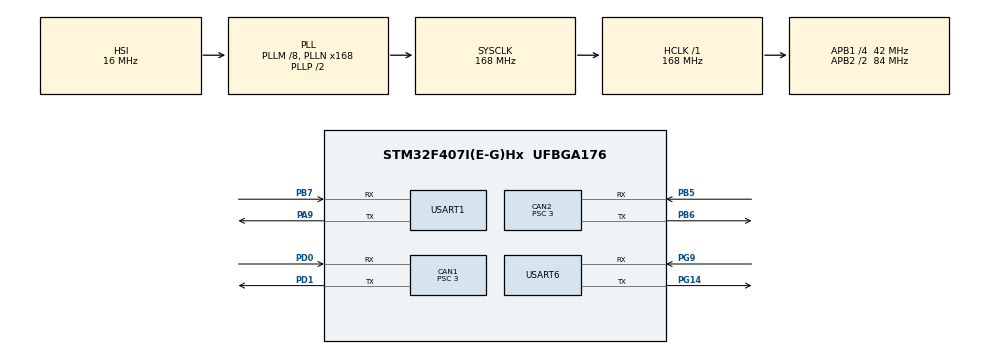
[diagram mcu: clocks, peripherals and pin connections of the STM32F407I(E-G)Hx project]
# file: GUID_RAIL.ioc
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CAN1.BS1=CAN_BS1_10TQ
CAN1.BS2=CAN_BS2_3TQ
CAN1.CalculateBaudRate=1000000
CAN1.CalculateTimeBit=1000
CAN1.CalculateTimeQuantum=71.42857142857143
CAN1.Prescaler=3
CAN2.BS1=CAN_BS1_10TQ
CAN2.BS2=CAN_BS2_3TQ
CAN2.CalculateBaudRate=1000000
CAN2.CalculateTimeBit=1000
CAN2.CalculateTimeQuantum=71.42857142857143
CAN2.Prescaler=3
Mcu.Family=STM32F4
Mcu.Name=STM32F407I(E-G)Hx
Mcu.Package=UFBGA176
NVIC.CAN1_RX0_IRQn=true\:0\:0\:false\:false\:true\:true\:true\:true
NVIC.CAN2_RX0_IRQn=true\:0\:0\:false\:false\:true\:true\:true\:true
NVIC.PriorityGroup=NVIC_PRIORITYGROUP_4
NVIC.USART1_IRQn=true\:0\:0\:false\:false\:true\:true\:true\:true
NVIC.USART6_IRQn=true\:0\:0\:false\:false\:true\:true\:true\:true
PA13.Mode=Serial_Wire
PA13.Signal=SYS_JTMS-SWDIO
PA14.Mode=Serial_Wire
PA14.Signal=SYS_JTCK-SWCLK
PA9.Mode=Asynchronous
PA9.Signal=USART1_TX
PB5.Mode=CAN_Activate
PB5.Signal=CAN2_RX
PB6.Mode=CAN_Activate
PB6.Signal=CAN2_TX
PB7.Mode=Asynchronous
PB7.Signal=USART1_RX
PD0.Mode=CAN_Activate
PD0.Signal=CAN1_RX
PD1.Mode=CAN_Activate
PD1.Signal=CAN1_TX
PG14.Mode=Asynchronous
PG14.Signal=USART6_TX
PG9.Mode=Asynchronous
PG9.Signal=USART6_RX
PH0-OSC_IN.Mode=HSE-External-Oscillator
PH0-OSC_IN.Signal=RCC_OSC_IN
PH1-OSC_OUT.Mode=HSE-External-Oscillator
PH1-OSC_OUT.Signal=RCC_OSC_OUT
ProjectManager.HeapSize=0x200
ProjectManager.StackSize=0x400
ProjectManager.TargetToolchain=MDK-ARM V5.32
RCC.48MHZClocksFreq_Value=84000000
RCC.AHBFreq_Value=168000000
RCC.APB1CLKDivider=RCC_HCLK_DIV4
RCC.APB1Freq_Value=42000000
RCC.APB1TimFreq_Value=84000000
RCC.APB2CLKDivider=RCC_HCLK_DIV2
RCC.APB2Freq_Value=84000000
RCC.APB2TimFreq_Value=168000000
RCC.CortexFreq_Value=168000000
RCC.HCLKFreq_Value=168000000
RCC.HSE_VALUE=25000000
RCC.HSI_VALUE=16000000
RCC.LSE_VALUE=32768
RCC.PLLM=8
RCC.PLLN=168
RCC.SYSCLKFreq_VALUE=168000000
RCC.SYSCLKSource=RCC_SYSCLKSOURCE_PLLCLK
RCC.VCOOutputFreq_Value=336000000
TIM6.Period=999
TIM6.Prescaler=83
USART1.VirtualMode=VM_ASYNC
USART6.VirtualMode=VM_ASYNC
VP_TIM6_VS_ClockSourceINT.Mode=Enable_Timer
board=custom

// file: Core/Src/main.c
/* USER CODE BEGIN Header */
/**
  ******************************************************************************
  * @file           : main.c
  * @brief          : Main program body
  ******************************************************************************
  * @attention
  *
  * Copyright (c) 2026 STMicroelectronics.
  * All rights reserved.
  *
  * This software is licensed under terms that can be found in the LICENSE file
  * in the root directory of this software component.
  * If no LICENSE file comes with this software, it is provided AS-IS.
  *
  ******************************************************************************
  */
/* USER CODE END Header */
#include "main.h"
#include "can.h"
#include "tim.h"
#include "usart.h"
#include "gpio.h"

/* USER CODE BEGIN Includes */
#include "can_comm.h"
#include "CAN_receive.h"
#include "Motor.h"
#include "trajectory.h"
#include "serialplot.h"
#include "rail_control.h"
/* USER CODE END Includes */

/* USER CODE BEGIN PV */
static motor_ctrl_t horizontal_motor;
static uint8_t control_started;

/* TIM6 每 1ms 置 1，主循环看到它才执行一轮控制（volatile：中断里写） */
static volatile uint8_t control_tick_flag;
static uint16_t plot_divider;   /* SerialPlot 输出分频：每 10ms 发一次 */

/* 板A 帧接收：USART1 RX(PB7) 逐字节中断。这个口已经配好，不需要改 CubeMX */
static uint8_t rail_rx_byte;
/* USER CODE END PV */

void SystemClock_Config(void);

int main(void)
{

  /* MCU Configuration--------------------------------------------------------*/

  /* Reset of all peripherals, Initializes the Flash interface and the Systick. */
  HAL_Init();

  /* Configure the system clock */
  SystemClock_Config();

  /* Initialize all configured peripherals */
  MX_GPIO_Init();
  MX_CAN1_Init();
  MX_TIM6_Init();
  MX_USART1_UART_Init();
  MX_CAN2_Init();
  MX_USART6_UART_Init();
  /* USER CODE BEGIN 2 */
  /* 第一件事就把串口接收挂上。
   * MX_USART1_UART_Init() 之后串口就使能接收了，但执行到这里之前还会跑
   * can_comm_init 等一堆初始化。这段窗口里如果有人往 RX 发字节，没人读 DR
   * 就会置 ORE；ORE 会让 HAL 关掉 RXNE 中断并停止接收，之后再也不会有
   * RxCplt 回调 —— 现象就是"上电老是连不上，要重新复位"。 */
  HAL_UART_Receive_IT(&huart1, &rail_rx_byte, 1);

  if (can_comm_init() != HAL_OK)
    Error_Handler();

  motor_ctrl_init(&horizontal_motor, MOTOR_AXIS_HORIZONTAL);
  trajectory_init();
  rail_control_init();          /* 上电进 SAFE：等板A 的帧才开始动 */
  control_started = 0U;
  control_tick_flag = 0U;
  plot_divider = 0U;

  /* 启动 TIM6 中断：每 1ms 置 control_tick_flag，驱动控制周期 */
  HAL_TIM_Base_Start_IT(&htim6);
  /* USER CODE END 2 */

  /* Infinite loop */
  while (1)
  {

    /* USER CODE BEGIN 3 */
    /* 等 TIM6 的 1ms 节拍：没到就空转（不阻塞，让出 CPU 给中断） */
    if (!control_tick_flag)
      continue;
    control_tick_flag = 0U;

    if (!CAN_motor_feedback_ready())  /* 反馈丢失：立即发 0 保安全，清理状态，下次恢复后重新配置 */
    {
      CAN_cmd_horizontal(0);
      if (control_started)
      {
        motor_ctrl_clear(&horizontal_motor);
        trajectory_init();
        rail_control_init();        /* 回到 SAFE，等新帧重新决定模式 */
        control_started = 0U;
      }
      continue;
    }

    if (!control_started)   /* 上电即启动：首帧反馈捕获后进入运行 */
    {
      motor_ctrl_update(&horizontal_motor, 0.0f,
                        motor_measure[HORIZONTAL_MOTOR].ecd,
                        motor_measure[HORIZONTAL_MOTOR].speed_rpm);
      control_started = 1U;
      CAN_cmd_horizontal(0);
      continue;
    }

    {
      /* 目标角度由 rail_control 状态机产出（波形/手动/归位/安全） */
      int16_t hori_v = motor_ctrl_update(&horizontal_motor,        /* 主要循环控制 */
                                         rail_control_update(horizontal_motor.current_angle),
                                         motor_measure[HORIZONTAL_MOTOR].ecd,
                                         motor_measure[HORIZONTAL_MOTOR].speed_rpm);
      CAN_cmd_horizontal(hori_v);
    }

    /* SerialPlot 输出：每 10ms 发一次� �避免高频串口阻塞控制周期 */
    if (++plot_divider >= 10U)
    {
      plot_divider = 0U;
      serialplot_output();
    }
  }
  /* USER CODE END 3 */
}

void SystemClock_Config(void)
{
  RCC_OscInitTypeDef RCC_OscInitStruct = {0};
  RCC_ClkInitTypeDef RCC_ClkInitStruct = {0};

  /** Configure the main internal regulator output voltage
  */
  __HAL_RCC_PWR_CLK_ENABLE();
  __HAL_PWR_VOLTAGESCALING_CONFIG(PWR_REGULATOR_VOLTAGE_SCALE1);

  /** Initializes the RCC Oscillators according to the specified parameters
  * in the RCC_OscInitTypeDef structure.
  */
  RCC_OscInitStruct.OscillatorType = RCC_OSCILLATORTYPE_HSI;
  RCC_OscInitStruct.HSIState = RCC_HSI_ON;
  RCC_OscInitStruct.HSICalibrationValue = RCC_HSICALIBRATION_DEFAULT;
  RCC_OscInitStruct.PLL.PLLState = RCC_PLL_ON;
  RCC_OscInitStruct.PLL.PLLSource = RCC_PLLSOURCE_HSI;
  RCC_OscInitStruct.PLL.PLLM = 8;
  RCC_OscInitStruct.PLL.PLLN = 168;
  RCC_OscInitStruct.PLL.PLLP = RCC_PLLP_DIV2;
  RCC_OscInitStruct.PLL.PLLQ = 4;
  if (HAL_RCC_OscConfig(&RCC_OscInitStruct) != HAL_OK)
  {
    Error_Handler();
  }

  /** Initializes the CPU, AHB and APB buses clocks
  */
  RCC_ClkInitStruct.ClockType = RCC_CLOCKTYPE_HCLK|RCC_CLOCKTYPE_SYSCLK
                              |RCC_CLOCKTYPE_PCLK1|RCC_CLOCKTYPE_PCLK2;
  RCC_ClkInitStruct.SYSCLKSource = RCC_SYSCLKSOURCE_PLLCLK;
  RCC_ClkInitStruct.AHBCLKDivider = RCC_SYSCLK_DIV1;
  RCC_ClkInitStruct.APB1CLKDivider = RCC_HCLK_DIV4;
  RCC_ClkInitStruct.APB2CLKDivider = RCC_HCLK_DIV2;

  if (HAL_RCC_ClockConfig(&RCC_ClkInitStruct, FLASH_LATENCY_5) != HAL_OK)
  {
    Error_Handler();
  }
}

/* USER CODE BEGIN 4 */
/* TIM6 更新中断回调：每 1ms 置控制节拍标志（中断里只置标志，不做控制） */
void HAL_TIM_PeriodElapsedCallback(TIM_HandleTypeDef *htim)
{
  if (htim->Instance == TIM6)
    control_tick_flag = 1U;
}

/* 串口接收完成回调：逐字节交给 rail_control 组行，然后重新挂起接收。
 * 这里只做搬运，解析和状态机都在主循环里跑（不在中断里做重活）。 */
void HAL_UART_RxCpltCallback(UART_HandleTypeDef *huart)
{
  if (huart->Instance == USART1)
  {
    rail_control_rx_byte(rail_rx_byte);
    HAL_UART_Receive_IT(&huart1, &rail_rx_byte, 1);
  }
}

/* 串口错误回调：ORE/FE/NE/PE 任意一个出现，HAL 都会调 UART_EndRxTransfer()
 * 把 RXNE 中断关掉、接收停掉。不在回调里恢复的话，一次噪声或溢出就会让
 * 接收永久失效，只能复位 —— 这正是"上电连不上"的根因。
 * 这里清掉错误标志并重新挂起接收，自动恢复。 */
void HAL_UART_ErrorCallback(UART_HandleTypeDef *huart)
{
  if (huart->Instance == USART1)
  {
    __HAL_UART_CLEAR_PEFLAG(huart);       /* 读 SR 再读 DR，清 PE/FE/NE/ORE */
    huart->ErrorCode = HAL_UART_ERROR_NONE;
    HAL_UART_Receive_IT(&huart1, &rail_rx_byte, 1);
  }
}
/* USER CODE END 4 */

void Error_Handler(void)
{
  __disable_irq();
  while (1)
  {
  }
}
